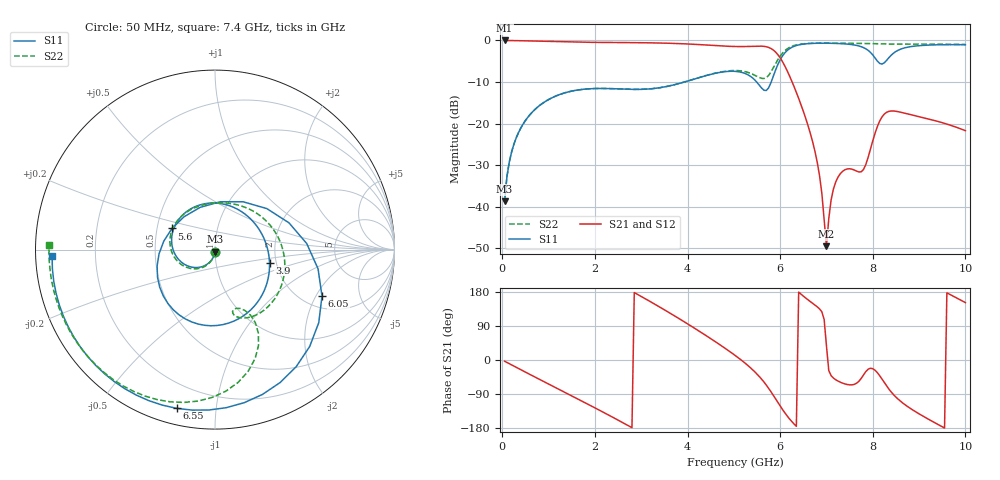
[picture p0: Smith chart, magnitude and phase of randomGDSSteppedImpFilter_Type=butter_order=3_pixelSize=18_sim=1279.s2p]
! freq	dB(S11)	phase(S11)	dB(S12)	phase(S12)
!  dB(S21)	phase(S21)	dB(S22)	phase(S22)
!S-par simulation data
#  GHz  S  DB  R 50
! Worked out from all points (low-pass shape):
!   200 points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, 50 MHz to 10 GHz, reference 50 ohm
!   highest |S21| = -0.01 dB at 50 MHz (marker M1); lowest = -49.5 dB at 7 GHz (marker M2)
!   |S21| within 3 dB of the highest: start of sweep to 5.918 GHz
!   lowest |S11| = -38.7 dB at 50 MHz (marker M3), VSWR 1.02, Z = 49.9 - j1.16 ohm
!   |S11| at or under -10 dB: start of sweep to 3.934 GHz; 5.492 GHz to 5.807 GHz (314.2 MHz wide, 5.56 % of centre)
!   |S22| runs from -38.7 to -0.7 dB; largest |S21 - S12| = 0
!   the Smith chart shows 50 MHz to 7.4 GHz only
!   S11 on the Smith chart (normalised r, x): 50 MHz: 1.00, -0.02; 3.9 GHz: 1.84, -0.30; 5.6 GHz: 0.60, +0.15; 6.05 GHz: 2.51, -2.25; 6.55 GHz: 0.08, -0.79; 7.4 GHz: 0.05, -0.02
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0.05  -38.72 -92.8  -0.01 -3.3  -0.01 -3.3  -38.72 -92.6
0.2  -26.88 -103.3  -0.03 -12.9  -0.03 -12.9  -26.88 -102.4
0.5  -19.27 -123.7  -0.10 -32.0  -0.10 -32.0  -19.27 -121.2
1.75  -11.76 152.5  -0.44 -110.4  -0.44 -110.4  -11.76 165.3
2.65  -11.74 85.9  -0.52 -168.6  -0.52 -168.6  -11.72 115.9
3.4  -11.39 25.5  -0.62 139.7  -0.62 139.7  -11.38 72.9
3.9  -10.11 -13.4  -0.80 103.0  -0.80 103.0  -10.12 38.6
5.05  -7.46 -107.8  -1.47 10.1  -1.47 10.1  -7.25 -51.0
5.6  -11.47 153.9  -1.38 -50.7  -1.38 -50.7  -9.13 -72.7
5.85  -8.68 38.3  -2.29 -92.6  -2.29 -92.6  -6.63 -61.1
6.05  -3.74 -23.5  -5.10 -130.4  -5.10 -130.4  -3.06 -74.8
6.55  -0.82 -103.5  -18.69 163.7  -18.69 163.7  -0.76 -123.9
6.7  -0.71 -118.4  -24.34 149.9  -24.34 149.9  -0.69 -135.5
7  -0.67 -144.1  -49.52 37.2  -49.52 37.2  -0.65 -156.3
7.15  -0.70 -156.3  -35.79 -47.6  -35.79 -47.6  -0.66 -166.0
7.4  -0.84 -177.8  -31.12 -63.2  -31.12 -63.2  -0.68 178.3
7.95  -2.88 98.4  -26.16 -21.8  -26.16 -21.8  -0.76 144.0
8.15  -5.54 13.9  -19.39 -41.6  -19.39 -41.6  -0.82 131.2
8.35  -4.12 -83.8  -17.07 -77.1  -17.07 -77.1  -0.86 118.4
8.6  -2.11 -141.9  -17.27 -108.9  -17.27 -108.9  -0.88 101.7
8.9  -1.37 -177.1  -18.09 -134.7  -18.09 -134.7  -0.89 80.5
10  -1.04 100.0  -21.72 151.6  -21.72 151.6  -0.97 -4.8
